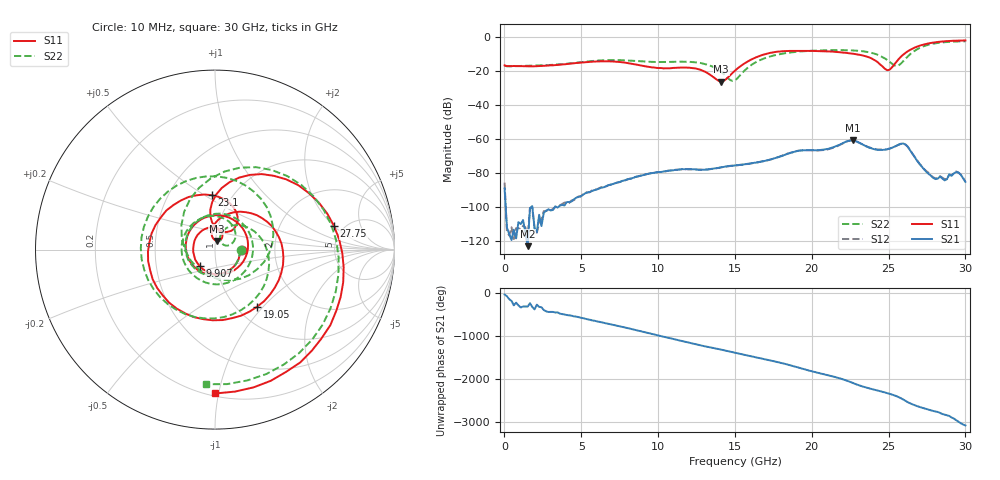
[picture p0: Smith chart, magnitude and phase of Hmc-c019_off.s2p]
!Hittite Microwave Corporation
!20 Alpha Rd
!Chelmsford, MA 01824
!Tel: 978-250-3343
!Fax: 978-250-3373
!Device: HMC-C019, DC - 20 GHz GaAs MMIC SPsT Non-Reflective Switch Module
!Misc: Bias: +5VDC, ISOLATION STATE
# GHZ S DB R 50.0
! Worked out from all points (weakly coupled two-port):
!   201 points, 10 MHz to 30 GHz, reference 50 ohm
!   highest |S21| = -60.73 dB at 22.65 GHz (marker M1); lowest = -122.9 dB at 1.51 GHz (marker M2)
!   lowest |S11| = -26.1 dB at 14.11 GHz (marker M3), VSWR 1.10, Z = 50.8 + j4.95 ohm
!   |S11| at or under -10 dB: start of sweep to 16.96 GHz; 22.88 GHz to 25.99 GHz (3.11 GHz wide, 12.7 % of centre)
!   |S22| runs from -25.7 to -2.5 dB; largest |S21 - S12| = 3.3e-05
!   S11 on the Smith chart (normalised r, x): 10 MHz: 1.35, -0.00; 9.907 GHz: 0.83, -0.15; 19.05 GHz: 1.23, -0.93; 23.1 GHz: 0.80, +0.54; 27.75 GHz: 4.14, +2.02; 30 GHz: 0.22, -0.98
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0.01  -16.60 -0.5  -88.94 -35.3  -85.58 -13.1  -16.76 -0.4
1.5095  -17.13 -60.7  -122.93 46.2  -118.09 63.7  -16.80 -58.2
5.1083  -14.81 124.3  -92.68 136.2  -92.56 136.8  -14.54 120.2
7.5075  -14.60 8.5  -85.21 -52.2  -85.15 -53.5  -13.48 -2.5
9.9067  -18.07 -132.7  -79.49 104.5  -79.47 104.3  -14.59 -142.2
10.05665  -18.15 -142.8  -79.30 91.9  -79.41 91.5  -14.61 -151.5
12.45585  -18.42 83.4  -77.76 -110.6  -77.79 -111.5  -14.83 76.7
14.1053  -26.08 78.3  -76.49 127.4  -76.55 127.6  -20.42 18.8
15.15495  -18.49 97.3  -75.35 42.8  -75.39 43.0  -24.19 62.5
16.8044  -10.41 39.5  -73.04 -84.8  -73.09 -84.4  -12.84 30.9
19.05365  -8.06 -53.7  -66.97 79.6  -66.89 79.1  -8.56 -74.7
20.1033  -8.09 -107.2  -66.46 -23.5  -66.60 -25.1  -7.92 -130.8
21.3029  -8.45 -170.2  -65.02 -128.4  -65.30 -128.0  -7.62 162.3
22.65245  -9.68 116.9  -60.73 76.8  -60.81 78.8  -7.79 88.2
23.1023  -10.34 93.6  -62.15 16.8  -62.14 18.8  -8.06 64.2
24.15195  -13.81 51.9  -66.03 -89.1  -65.90 -88.2  -9.89 5.5
25.05165  -19.21 78.8  -65.54 -175.3  -65.53 -175.4  -14.41 -64.3
26.25125  -8.28 77.7  -64.39 -12.3  -64.50 -10.7  -11.31 129.2
27.001  -5.08 44.7  -74.43 -119.9  -74.24 -117.5  -6.43 73.1
27.75075  -3.40 11.3  -81.44 161.3  -81.32 162.7  -4.10 28.6
28.8004  -2.29 -33.2  -83.51 45.2  -83.36 41.4  -2.83 -26.9
30  -1.92 -89.9  -85.12 169.2  -85.03 166.1  -2.48 -93.8
